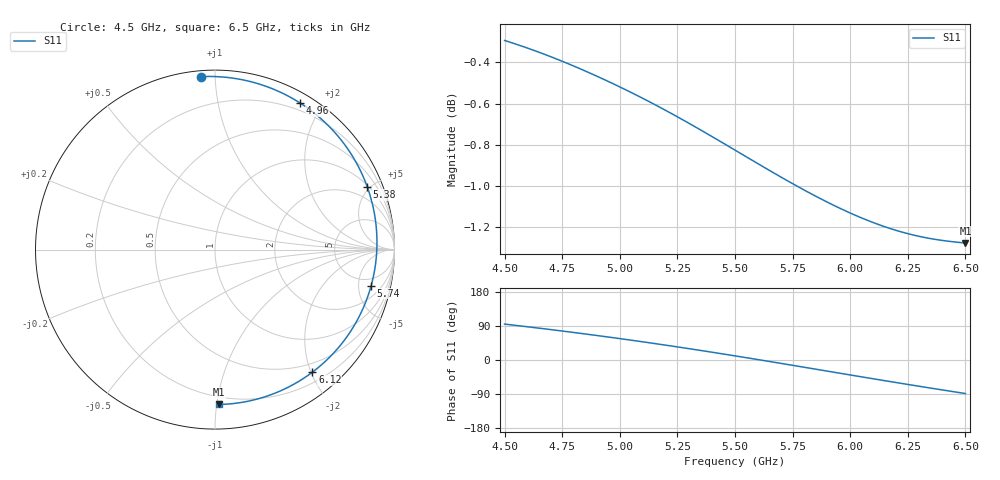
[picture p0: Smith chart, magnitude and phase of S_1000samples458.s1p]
! TOUCHSTONE file generated by CST MICROWAVE STUDIO
! Date and time: Fri Oct 28 05:54:17 2022
! Project name: L.cst
! Parameters = {Di=1.27; Epsilon_r=1.56; InnerDiameter=1.27; Length=2; Lf=10; Lg=60; OuterConductorThickness=0.2921; OuterDiameter=3.6; Wf=3; Wp=41.2; de=1.5; df=6.8; g=0.8; gx=4.21428; gy=3.6307; h=2.34; hf=1.524; px=8.8088; py=11.2103; w=9.7; wx=4.59452; wy=7.5796}
! Header version: 2018
! Port assignment regex: !\s*Touchstone port\s*([0-9]+)\s*=\s*(CST MWS port|CST DS port)\s*([0-9]+|Zmin|Zmax)\s*\(\"(.*)\"\)(\s*mode\s*([0-9]+))?.*
! Touchstone port assignment:
! Touchstone port 1 = CST MWS port 1 ("")
# GHz S DB R 50
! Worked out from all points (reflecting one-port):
!   101 points, 4.5 GHz to 6.5 GHz, reference 50 ohm
!   lowest |S11| = -1.3 dB at 6.5 GHz (marker M1), VSWR 13.62, Z = 7.5 - j50.8 ohm
!   phase of S11 starts at 95 deg and turns -183 deg over the sweep
!   S11 on the Smith chart (normalised r, x): 4.5 GHz: 0.03, +0.92; 4.96 GHz: 0.12, +1.73; 5.38 GHz: 1.08, +4.80; 5.74 GHz: 3.53, -7.01; 6.12 GHz: 0.35, -2.02; 6.5 GHz: 0.15, -1.02
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4.5  -0.29 94.7
4.64  -0.35 84.7
4.76  -0.40 75.7
4.86  -0.45 67.9
4.96  -0.50 59.8
5  -0.52 56.4
5.12  -0.59 46.2
5.18  -0.62 40.9
5.26  -0.67 33.6
5.38  -0.75 22.4
5.44  -0.79 16.7
5.5  -0.83 10.9
5.56  -0.87 5.0
5.62  -0.91 -0.9
5.68  -0.94 -7.0
5.74  -0.98 -13.0
5.76  -1.00 -15.0
5.82  -1.03 -21.1
5.88  -1.07 -27.2
5.94  -1.10 -33.4
6  -1.13 -39.5
6.12  -1.19 -51.6
6.2  -1.22 -59.5
6.26  -1.24 -65.5
6.32  -1.25 -71.3
6.38  -1.26 -77.1
6.44  -1.27 -82.8
6.5  -1.28 -88.5
